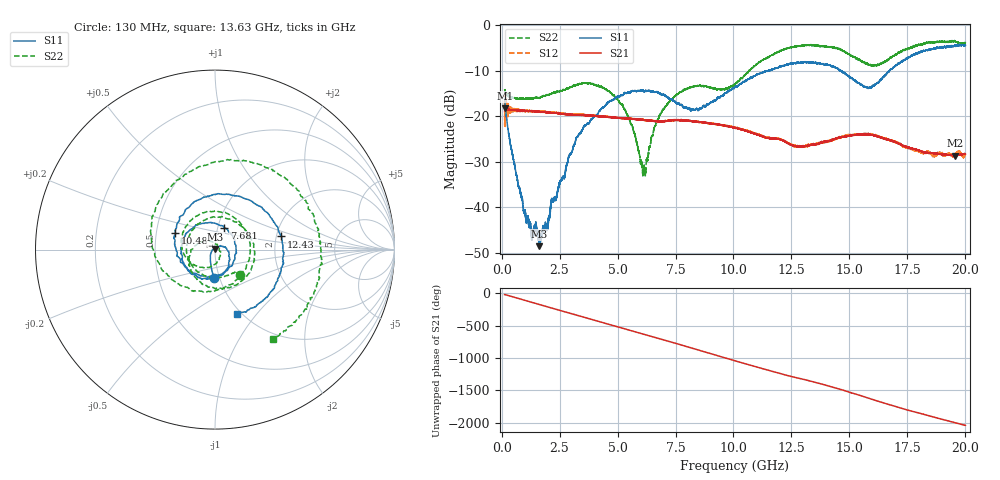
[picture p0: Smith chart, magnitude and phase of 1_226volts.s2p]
!Created with skrf (http://scikit-rf.org).
# GHz S RI R 50.0
!freq ReS11 ImS11 ReS21 ImS21 ReS12 ImS12 ReS22 ImS22
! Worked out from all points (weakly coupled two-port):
!   20013 points, 130 MHz to 20 GHz, reference 50 ohm
!   highest |S21| = -18.25 dB at 132 MHz (marker M1); lowest = -28.7 dB at 19.55 GHz (marker M2)
!   lowest |S11| = -48.5 dB at 1.612 GHz (marker M3), VSWR 1.01, Z = 50.1 + j0.346 ohm
!   |S11| at or under -10 dB: start of sweep to 11.5 GHz; 14.61603 GHz to 14.63885 GHz (22.82 MHz wide, 0.156 % of centre); 14.64 GHz to 16.73 GHz (2.092 GHz wide, 13.3 % of centre) (the widest 3 of 19)
!   |S22| runs from -33.1 to -3.4 dB; largest |S21 - S12| = 0.081
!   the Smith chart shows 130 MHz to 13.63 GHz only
!   S11 on the Smith chart (normalised r, x): 130 MHz: 0.94, -0.30; 7.681 GHz: 1.07, +0.27; 10.48 GHz: 0.63, +0.12; 12.43 GHz: 2.13, +0.36; 13.63 GHz: 0.95, -0.80
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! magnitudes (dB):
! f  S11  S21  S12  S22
! 130 MHz  -16.1  -18.3  -17.9  -14.0
! 132 MHz  -16.2  -18.3  -17.8  -14.2
! 415 MHz  -27.0  -18.6  -18.9  -15.8
! 1 GHz  -40.6  -18.8  -18.8  -16.2
! 1.612 GHz  -48.5  -19.0  -19.1  -15.9
! 1.979 GHz  -44.2  -19.2  -19.1  -15.3
! 3.442 GHz  -23.4  -19.7  -19.8  -12.9
! 5.172 GHz  -15.4  -20.4  -20.5  -17.4
! 5.673 GHz  -14.5  -20.6  -20.7  -22.9
! 6.132 GHz  -14.5  -20.9  -20.9  -31.2
! 6.754 GHz  -14.8  -21.1  -21.1  -20.6
! 7.681 GHz  -17.5  -20.9  -20.9  -14.8
! 8.539 GHz  -18.3  -21.3  -21.3  -13.3
! 10.06 GHz  -13.5  -22.6  -22.5  -13.0
! 10.48 GHz  -12.4  -23.1  -23.0  -11.1
! 12.43 GHz  -8.5  -26.2  -26.2  -5.0
! 13.38 GHz  -8.2  -26.3  -26.4  -4.4
! 13.63 GHz  -8.4  -26.1  -26.0  -4.5
! 15.84 GHz  -13.7  -24.0  -23.9  -8.8
! 16.69 GHz  -10.2  -25.1  -25.1  -7.6
! 19.55 GHz  -4.4  -28.7  -28.7  -3.5
! 20 GHz  -4.4  -28.3  -28.5  -3.9
